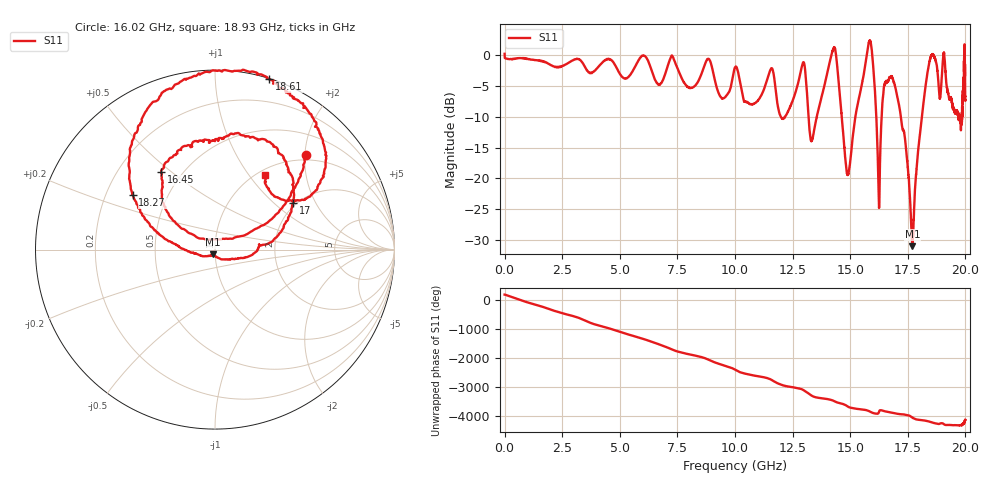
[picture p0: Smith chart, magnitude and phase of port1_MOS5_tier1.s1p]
! Created with skrf 1.8.0 (http://scikit-rf.org).
# GHz S RI R 50.0
!freq ReS11 ImS11
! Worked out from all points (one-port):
!   10001 points, 1 MHz to 20 GHz, reference 50 ohm
!   lowest |S11| = -30.9 dB at 17.7 GHz (marker M1), VSWR 1.06, Z = 49 - j2.62 ohm
!   |S11| at or under -10 dB: 13.19 GHz to 13.55 GHz (360.3 MHz wide, 2.69 % of centre); 14.63 GHz to 15.23 GHz (594.9 MHz wide, 3.98 % of centre); 17.2 GHz to 18.11 GHz (910.3 MHz wide, 5.16 % of centre) (the widest 3 of 18)
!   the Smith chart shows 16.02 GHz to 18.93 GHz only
!   S11 on the Smith chart (normalised r, x): 16.02 GHz: 0.89, +2.02; 16.45 GHz: 0.39, +0.46; 17 GHz: 1.92, +1.34; 18.27 GHz: 0.32, +0.27; 18.61 GHz: 0.00, +1.37; 18.93 GHz: 1.08, +1.19
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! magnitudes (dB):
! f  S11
! 1 MHz  0.2
! 2.501 GHz  -1.8
! 5.001 GHz  -3.1
! 7.501 GHz  -2.1
! 8.861 GHz  -0.7
! 9.479 GHz  -7.1
! 10 GHz  -2.0
! 10.48 GHz  -7.7
! 11.57 GHz  -2.2
! 12.01 GHz  -10.1
! 12.5 GHz  -7.4
! 12.97 GHz  -1.2
! 13.35 GHz  -13.8
! 14.3 GHz  1.1
! 14.83 GHz  -18.3
! 15 GHz  -17.4
! 15.79 GHz  1.7
! 16.02 GHz  -2.7
! 16.24 GHz  -24.0
! 16.45 GHz  -5.6
! 17 GHz  -5.9
! 17.5 GHz  -18.2
! 17.7 GHz  -30.9
! 18.27 GHz  -5.2
! 18.61 GHz  0.0
! 18.93 GHz  -6.0
! 19.76 GHz  -10.1
! 20 GHz  -7.3
